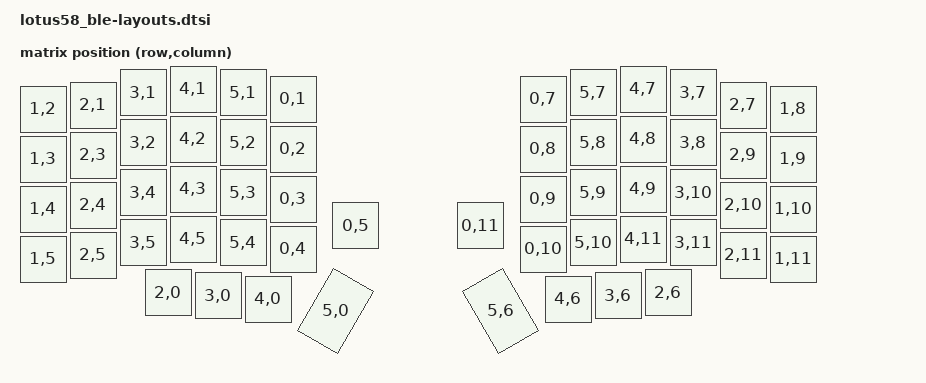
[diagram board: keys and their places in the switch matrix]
// SPDX-License-Identifier: MIT

#include <dt-bindings/zmk/matrix_transform.h> // Matrix transform so the keymap works
#include <physical_layouts.dtsi> // Needed to define key positions, so it shows up correctly in ZMK Studio.

/ {
	default_transform: keymap_transform_0 {
		compatible = "zmk,matrix-transform";
		columns = <12>;
		rows = <5>;

			// Switch positions
			// | SW01 | SW02 | SW03 | SW04 | SW05 | SW06 |                      | SW07 | SW08 | SW09 | SW10 | SW11 | SW12 |
			// | SW13 | SW14 | SW15 | SW16 | SW17 | SW18 |                      | SW19 | SW20 | SW21 | SW22 | SW23 | SW24 |
			// | SW25 | SW26 | SW27 | SW28 | SW29 | SW30 |                      | SW31 | SW32 | SW33 | SW34 | SW35 | SW36 |
			// | SW37 | SW38 | SW39 | SW40 | SW41 | SW42 | SW43 |        | SW44 | SW45 | SW46 | SW47 | SW48 | SW49 | SW50 |
			//                      | SW51 | SW52 | SW53 | SW54 |        | SW55 | SW56 | SW57 | SW58 |
			//
			// Switch positions as noted in the PCB file.
			// | SW06 | SW01 | SW02 | SW03 | SW04 | SW05 |                      | SW05 | SW04 | SW03 | SW02 | SW01 | SW06 |
			// | SW11 | SW12 | SW07 | SW08 | SW09 | SW10 |                      | SW10 | SW09 | SW08 | SW07 | SW12 | SW11 |
			// | SW16 | SW17 | SW18 | SW13 | SW14 | SW15 |                      | SW15 | SW14 | SW13 | SW18 | SW17 | SW16 |
			// | SW21 | SW22 | SW23 | SW24 | SW19 | SW20 | SW25 |        | SW25 | SW20 | SW19 | SW24 | SW23 | SW22 | SW21 |
			//                      | SW26 | SW27 | SW28 | SW29 |        | SW29 | SW28 | SW27 | SW26 |
		map = <
			RC(1,2) RC(2,1) RC(3,1) RC(4,1) RC(5,1) RC(0,1)                     RC(0,7)  RC(5,7)  RC(4,7)  RC(3,7)  RC(2,7)  RC(1,8)
			RC(1,3) RC(2,3) RC(3,2) RC(4,2) RC(5,2) RC(0,2)                     RC(0,8)  RC(5,8)  RC(4,8)  RC(3,8)  RC(2,9)  RC(1,9)
			RC(1,4) RC(2,4) RC(3,4) RC(4,3) RC(5,3) RC(0,3)                     RC(0,9)  RC(5,9)  RC(4,9)  RC(3,10) RC(2,10) RC(1,10)
			RC(1,5) RC(2,5) RC(3,5) RC(4,5) RC(5,4) RC(0,4) RC(0,5)    RC(0,11) RC(0,10) RC(5,10) RC(4,11) RC(3,11) RC(2,11) RC(1,11)
			                        RC(2,0) RC(3,0) RC(4,0) RC(5,0)    RC(5,6)  RC(4,6)  RC(3,6)  RC(2,6)
		>;
	};

	physical_layout0: physical_layout_0 {
		compatible = "zmk,physical-layout";
		display-name = "Default Layout";
		transform = <&default_transform>;
		kscan = <&kscan0>;

		keys =	// Left half           w   h    x    y     rot    rx    ry
			<&key_physical_attrs 100 100    0   40       0     0     0>, //SW01
			<&key_physical_attrs 100 100  100   32       0     0     0>, //SW02
			<&key_physical_attrs 100 100  200    7       0     0     0>, //SW03
			<&key_physical_attrs 100 100  300    0       0     0     0>, //SW04
			<&key_physical_attrs 100 100  400    7       0     0     0>, //SW05
			<&key_physical_attrs 100 100  500   20       0     0     0>, //SW06
			<&key_physical_attrs 100 100 1000   20       0     0     0>, //SW07
			<&key_physical_attrs 100 100 1100    7       0     0     0>, //SW08
			<&key_physical_attrs 100 100 1200    0       0     0     0>, //SW09
			<&key_physical_attrs 100 100 1300    7       0     0     0>, //SW10
			<&key_physical_attrs 100 100 1400   32       0     0     0>, //SW11
			<&key_physical_attrs 100 100 1500   40       0     0     0>, //SW12
			<&key_physical_attrs 100 100    0  140       0     0     0>, //SW13
			<&key_physical_attrs 100 100  100  132       0     0     0>, //SW14
			<&key_physical_attrs 100 100  200  107       0     0     0>, //SW15
			<&key_physical_attrs 100 100  300  100       0     0     0>, //SW16
			<&key_physical_attrs 100 100  400  107       0     0     0>, //SW17
			<&key_physical_attrs 100 100  500  120       0     0     0>, //SW18
			<&key_physical_attrs 100 100 1000  120       0     0     0>, //SW19
			<&key_physical_attrs 100 100 1100  107       0     0     0>, //SW20
			<&key_physical_attrs 100 100 1200  100       0     0     0>, //SW21
			<&key_physical_attrs 100 100 1300  107       0     0     0>, //SW22
			<&key_physical_attrs 100 100 1400  132       0     0     0>, //SW23
			<&key_physical_attrs 100 100 1500  140       0     0     0>, //SW24
			<&key_physical_attrs 100 100    0  240       0     0     0>, //SW25
			<&key_physical_attrs 100 100  100  232       0     0     0>, //SW26
			<&key_physical_attrs 100 100  200  207       0     0     0>, //SW27
			<&key_physical_attrs 100 100  300  200       0     0     0>, //SW28
			<&key_physical_attrs 100 100  400  207       0     0     0>, //SW29
			<&key_physical_attrs 100 100  500  220       0     0     0>, //SW30
			<&key_physical_attrs 100 100 1000  220       0     0     0>, //SW31
			<&key_physical_attrs 100 100 1100  207       0     0     0>, //SW32
			<&key_physical_attrs 100 100 1200  200       0     0     0>, //SW33
			<&key_physical_attrs 100 100 1300  207       0     0     0>, //SW34
			<&key_physical_attrs 100 100 1400  232       0     0     0>, //SW35
			<&key_physical_attrs 100 100 1500  240       0     0     0>, //SW36
			<&key_physical_attrs 100 100    0  340       0     0     0>, //SW37
			<&key_physical_attrs 100 100  100  332       0     0     0>, //SW38
			<&key_physical_attrs 100 100  200  307       0     0     0>, //SW39
			<&key_physical_attrs 100 100  300  300       0     0     0>, //SW40
			<&key_physical_attrs 100 100  400  307       0     0     0>, //SW41
			<&key_physical_attrs 100 100  500  320       0     0     0>, //SW42
			<&key_physical_attrs 100 100  625  273       0     0     0>, //SW43 or encoder
			<&key_physical_attrs 100 100  875  273       0     0     0>, //SW44 or encoder
			<&key_physical_attrs 100 100 1000  320       0     0     0>, //SW45
			<&key_physical_attrs 100 100 1100  307       0     0     0>, //SW46
			<&key_physical_attrs 100 100 1200  300       0     0     0>, //SW47
			<&key_physical_attrs 100 100 1300  307       0     0     0>, //SW48
			<&key_physical_attrs 100 100 1400  332       0     0     0>, //SW49
			<&key_physical_attrs 100 100 1500  340       0     0     0>, //SW50
			<&key_physical_attrs 100 100  250  407       0     0     0>, //SW51
			<&key_physical_attrs 100 100  350  413       0     0     0>, //SW52
			<&key_physical_attrs 100 100  450  420       0     0     0>, //SW53
			<&key_physical_attrs 100 150  585  419    3000   635   494>, //SW54
			<&key_physical_attrs 100 150  915  419 (-3000)   965   494>, //SW55
			<&key_physical_attrs 100 100 1050  420       0     0     0>, //SW56
			<&key_physical_attrs 100 100 1150  413       0     0     0>, //SW57
			<&key_physical_attrs 100 100 1250  407       0     0     0>; //SW58
	};
};
